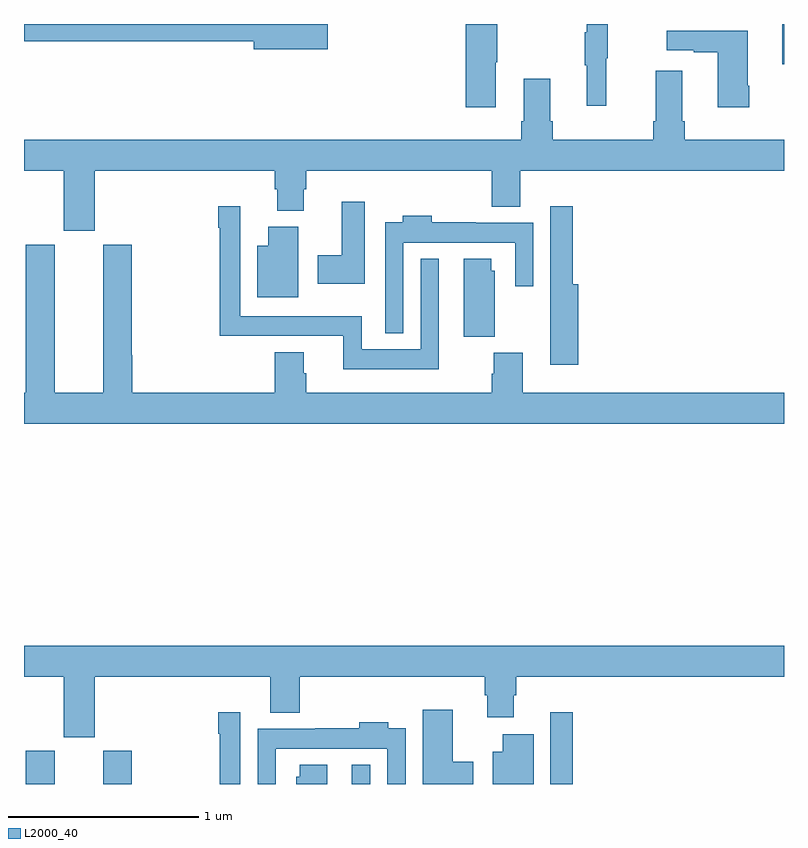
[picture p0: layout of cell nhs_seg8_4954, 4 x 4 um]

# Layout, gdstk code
import gdstk
lib = gdstk.Library(unit=1e-6, precision=1e-09)
def R(c, l, rs):  # rectangles x0, y0, x1, y1
    for r in rs: c.add(gdstk.rectangle(r[:2], r[2:], *l))
def P(c, l, *ps):  # polygons
    for p in ps: c.add(gdstk.Polygon(p, *l))
L2000_40 = (2000, 40)

nhs_seg8_4954 = lib.new_cell('nhs_seg8_4954')
R(nhs_seg8_4954, L2000_40, [(409.01,1151.9,409.162,1152.075), (409.418,1151.9,409.566,1152.075), (410.726,1151.9,410.823,1152.001), (411.771,1151.9,411.887,1152.277), (412.991,1155.687,413,1155.9)])
P(nhs_seg8_4954, L2000_40, [(410.599,1155.9),(409,1155.9),(409,1155.808),(410.21,1155.808),(410.21,1155.766),(410.599,1155.766)],
  [(412.064,1155.72),(412.072,1155.72),(412.072,1155.9),(411.962,1155.9),(411.962,1155.857),(411.951,1155.857),(411.951,1155.683),(411.962,1155.683),(411.962,1155.471),(412.064,1155.471)],
  [(411.484,1155.7),(411.492,1155.7),(411.492,1155.9),(411.326,1155.9),(411.326,1155.462),(411.484,1155.462)],
  [(412.818,1155.574),(412.81,1155.574),(412.81,1155.865),(412.383,1155.865),(412.383,1155.761),(412.526,1155.761),(412.526,1155.751),(412.652,1155.751),(412.652,1155.462),(412.818,1155.462)],
  [(409.372,1155.128),(410.321,1155.128),(410.321,1155.03),(410.333,1155.03),(410.333,1154.918),(410.473,1154.918),(410.473,1155.03),(410.486,1155.03),(410.486,1155.128),(411.461,1155.128),(411.461,1154.939),(411.613,1154.939),(411.613,1155.128),(413,1155.128),(413,1155.292),(412.478,1155.292),(412.478,1155.388),(412.465,1155.388),(412.465,1155.655),(412.325,1155.655),(412.325,1155.388),(412.313,1155.388),(412.313,1155.292),(411.782,1155.292),(411.782,1155.388),(411.769,1155.388),(411.769,1155.613),(411.629,1155.613),(411.629,1155.388),(411.617,1155.388),(411.617,1155.292),(409,1155.292),(409,1155.128),(409.208,1155.128),(409.208,1154.811),(409.372,1154.811)],
  [(410.794,1154.965),(410.672,1154.965),(410.672,1154.682),(410.547,1154.682),(410.547,1154.534),(410.794,1154.534)],
  [(411.917,1154.53),(411.887,1154.53),(411.887,1154.941),(411.771,1154.941),(411.771,1154.426),(411.77,1154.426),(411.77,1154.106),(411.917,1154.106)],
  [(411.184,1154.665),(411.087,1154.665),(411.087,1154.188),(410.778,1154.188),(410.778,1154.362),(410.139,1154.362),(410.139,1154.941),(410.023,1154.941),(410.023,1154.828),(410.031,1154.828),(410.031,1154.258),(410.681,1154.258),(410.681,1154.084),(411.184,1154.084)],
  [(410.997,1154.75),(411.585,1154.75),(411.585,1154.52),(411.681,1154.52),(411.681,1154.854),(411.377,1154.854),(411.377,1154.857),(411.146,1154.857),(411.146,1154.89),(410.993,1154.89),(410.993,1154.857),(410.901,1154.857),(410.901,1154.273),(410.997,1154.273)],
  [(410.443,1154.833),(410.285,1154.833),(410.285,1154.734),(410.228,1154.734),(410.228,1154.462),(410.443,1154.462)],
  [(413,1153.96),(411.626,1153.96),(411.626,1154.169),(411.473,1154.169),(411.473,1154.06),(411.461,1154.06),(411.461,1153.96),(410.486,1153.96),(410.486,1154.061),(410.473,1154.061),(410.473,1154.173),(410.321,1154.173),(410.321,1153.96),(409.571,1153.96),(409.571,1154.156),(409.566,1154.156),(409.566,1154.739),(409.418,1154.739),(409.418,1153.96),(409.162,1153.96),(409.162,1154.739),(409.01,1154.739),(409.01,1153.96),(409,1153.96),(409,1153.796),(413,1153.796)],
  [(411.478,1154.601),(411.46,1154.601),(411.46,1154.665),(411.314,1154.665),(411.314,1154.254),(411.478,1154.254)],
  [(409.372,1152.464),(410.297,1152.464),(410.297,1152.275),(410.45,1152.275),(410.45,1152.464),(411.425,1152.464),(411.425,1152.366),(411.437,1152.366),(411.437,1152.252),(411.577,1152.252),(411.577,1152.366),(411.59,1152.366),(411.59,1152.464),(413,1152.464),(413,1152.628),(409,1152.628),(409,1152.464),(409.208,1152.464),(409.208,1152.147),(409.372,1152.147)],
  [(411.364,1152.018),(411.256,1152.018),(411.256,1152.292),(411.098,1152.292),(411.098,1151.9),(411.364,1151.9)],
  [(410.139,1152.277),(410.023,1152.277),(410.023,1152.164),(410.031,1152.164),(410.031,1151.9),(410.139,1151.9)],
  [(410.325,1152.086),(410.913,1152.086),(410.913,1151.9),(411.009,1151.9),(411.009,1152.193),(410.917,1152.193),(410.917,1152.226),(410.765,1152.226),(410.765,1152.193),(410.533,1152.193),(410.533,1152.19),(410.229,1152.19),(410.229,1151.9),(410.325,1151.9)],
  [(411.682,1152.163),(411.521,1152.163),(411.521,1152.07),(411.467,1152.07),(411.467,1151.9),(411.682,1151.9)],
  [(410.596,1152.001),(410.45,1152.001),(410.45,1151.937),(410.432,1151.937),(410.432,1151.9),(410.596,1151.9)])

lib.write_gds('nhs_seg8_4954.gds')
